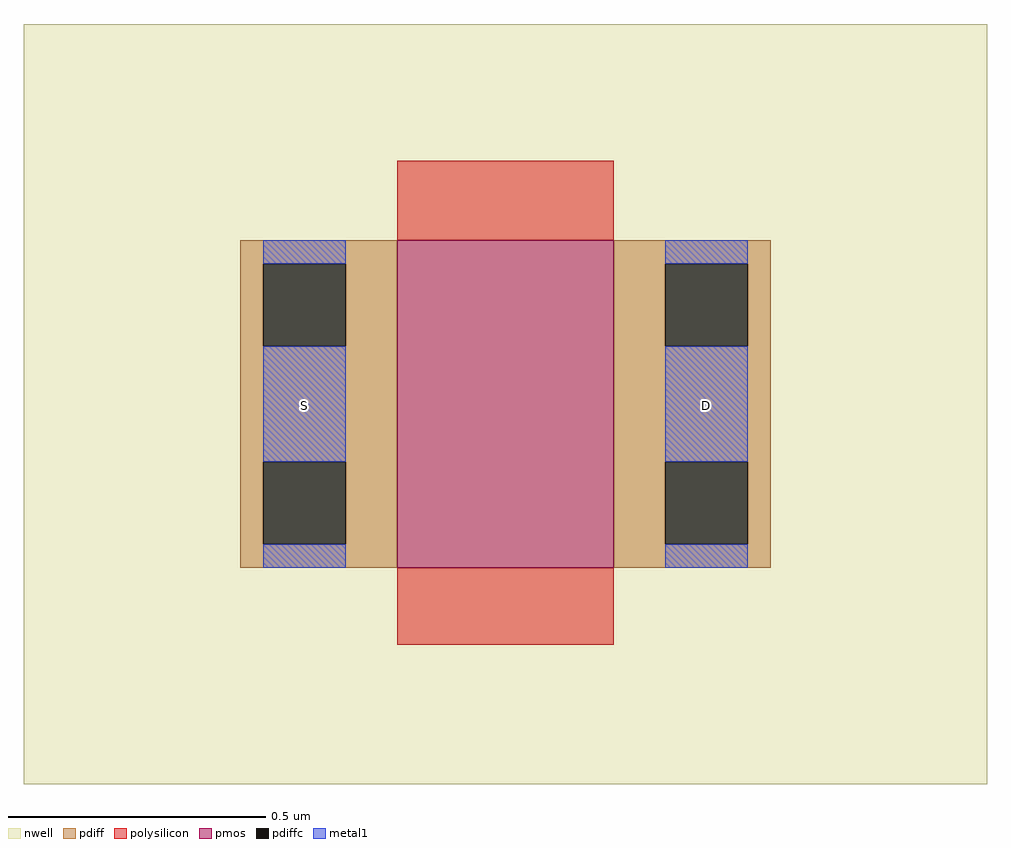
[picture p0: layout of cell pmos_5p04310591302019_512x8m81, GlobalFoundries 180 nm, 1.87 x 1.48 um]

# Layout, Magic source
magic
tech gf180mcuD
magscale 1 10
<< nwell >>
rect -145 -84 229 211
<< pmos >>
rect 0 0 84 127
<< pdiff >>
rect -61 118 0 127
rect -61 86 -52 118
rect -20 86 0 118
rect -61 41 0 86
rect -61 9 -52 41
rect -20 9 0 41
rect -61 0 0 9
rect 84 118 145 127
rect 84 86 104 118
rect 136 86 145 118
rect 84 41 145 86
rect 84 9 104 41
rect 136 9 145 41
rect 84 0 145 9
<< pdiffc >>
rect -52 86 -20 118
rect -52 9 -20 41
rect 104 86 136 118
rect 104 9 136 41
<< polysilicon >>
rect 0 127 84 158
rect 0 -30 84 0
<< metal1 >>
rect -52 118 -20 127
rect -52 41 -20 86
rect -52 0 -20 9
rect 104 118 136 127
rect 104 41 136 86
rect 104 0 136 9
<< labels >>
flabel metal1 -36 63 -36 63 0 FreeSans 280 0 0 0 S
flabel metal1 120 63 120 63 0 FreeSans 280 0 0 0 D
<< end >>
